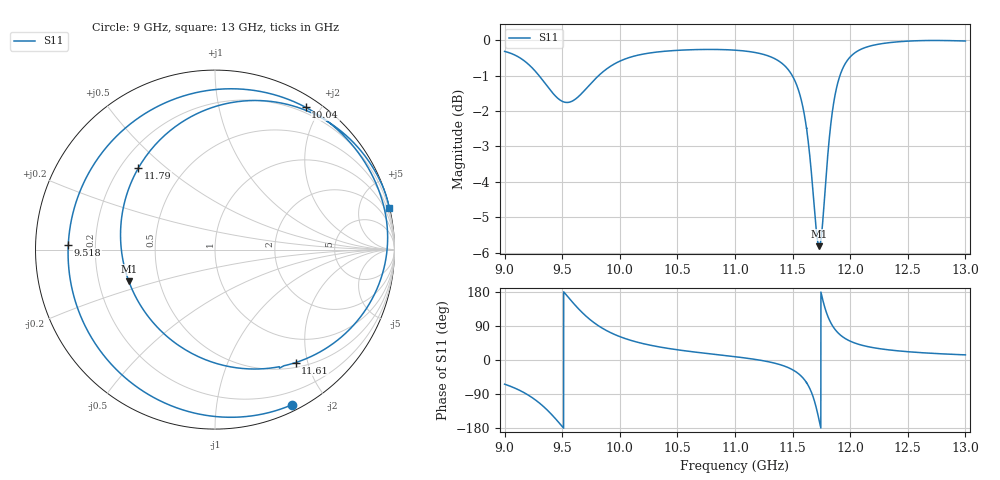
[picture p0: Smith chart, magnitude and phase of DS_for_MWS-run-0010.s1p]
! TOUCHSTONE file generated by CST DESIGN STUDIO
! Date and time: Tue Feb  4 12:52:53 2025
! Project name: C:\Work\MatlabApps\UnitCellOptimizationMatlab\CST\unitcell.cst
! Tree item: Tasks\Sweep1\SPara1\S-Parameters
! Header version: 2024
! Port assignment regex: !\s*Touchstone port\s*([0-9]+)\s*=\s*(CST MWS port|CST DES external port|CST DES block port)\s*(.+)\s* \(\"(.*)\"\)(\s*mode\s*([0-9]+))?.*
! Touchstone port assignment:
! Touchstone port 1 = CST DES external port 1 ("")
# GHz S MA R 50
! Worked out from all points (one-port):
!   4001 points, 9 GHz to 13 GHz, reference 50 ohm
!   lowest |S11| = -5.8 dB at 11.73 GHz (marker M1), VSWR 3.10, Z = 16.6 - j7.9 ohm
!   |S11| at or under -10 dB: nowhere
!   S11 on the Smith chart (normalised r, x): 9 GHz: 0.06, -1.61; 9.518 GHz: 0.10, +0.02; 10.04 GHz: 0.13, +1.82; 11.61 GHz: 0.57, -1.80; 11.79 GHz: 0.27, +0.41; 13 GHz: 0.07, +8.41
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9  0.9647 -63.8
9.169  0.9359 -86.2
9.285  0.8972 -109.4
9.386  0.8548 -136.8
9.5  0.82 -175.5
9.518  0.8179 178.0
9.631  0.8299 138.5
9.729  0.862 109.8
9.842  0.8993 85.0
10  0.9345 61.7
10.038  0.9401 57.5
10.235  0.9583 41.0
10.5  0.968 27.0
11  0.9686 8.7
11.303  0.9487 -5.4
11.5  0.8898 -25.8
11.609  0.7731 -54.5
11.676  0.6144 -95.4
11.731  0.5117 -159.9
11.757  0.543 164.7
11.785  0.6235 133.2
11.82  0.731 105.2
11.86  0.8222 84.1
11.924  0.9036 63.6
12  0.9475 49.7
12.18  0.9824 33.7
12.5  0.9975 21.9
13  0.9979 13.6
